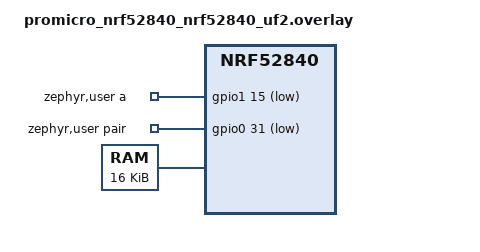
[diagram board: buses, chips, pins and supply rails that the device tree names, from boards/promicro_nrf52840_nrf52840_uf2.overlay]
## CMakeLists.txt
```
# Copyright (c) 2026 the OpenSC2-Controller authors
# SPDX-License-Identifier: MIT
cmake_minimum_required(VERSION 3.20.0)

# The OpenSC2 library is a Zephyr module: the OpenSC2-Controller repository. Inside the repository
# it is found here. In a copy of this folder elsewhere, set ZEPHYR_EXTRA_MODULES to your
# OpenSC2-Controller folder (environment variable, or -DZEPHYR_EXTRA_MODULES=<folder>), or list the
# repository in your west manifest (docs/integration.md).
if(EXISTS ${CMAKE_CURRENT_LIST_DIR}/../../zephyr/module.yml AND
   EXISTS ${CMAKE_CURRENT_LIST_DIR}/../../include/opensc2/opensc2.h)
  list(APPEND ZEPHYR_EXTRA_MODULES ${CMAKE_CURRENT_LIST_DIR}/../..)
endif()

find_package(Zephyr REQUIRED HINTS $ENV{ZEPHYR_BASE})
project(opensc2_minimal LANGUAGES C)

target_sources(app PRIVATE src/main.c)
```

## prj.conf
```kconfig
# Copyright (c) 2026 the OpenSC2-Controller authors
# SPDX-License-Identifier: MIT
#
# The smallest OpenSC2 application: one button and a pairing button, wired or wireless.
# The SuperMini's own lines (its clock) are in boards/promicro_nrf52840_nrf52840_uf2.conf.

# The library. The puck sends packets of up to 128 bytes; the real controller keeps two replies
# queued.
CONFIG_OPENSC2=y
CONFIG_ESB_MAX_PAYLOAD_LENGTH=128
CONFIG_ESB_TX_FIFO_SIZE=2
CONFIG_GPIO=y

# Wired mode (the overlay chooses the HID node). The library runs the USB device, so the board's
# own serial port does not start at boot; in wireless mode the library shows it as the console.
# Eight report buffers, and room on the stacks for the vendor commands that write flash.
CONFIG_CDC_ACM_SERIAL_INITIALIZE_AT_BOOT=n
CONFIG_USBD_HID_IN_BUF_COUNT=8
CONFIG_USBD_THREAD_STACK_SIZE=2048
CONFIG_SYSTEM_WORKQUEUE_STACK_SIZE=2048

# Bonds survive a reboot in Zephyr settings, on NVS in the board's storage partition. Steam's
# pairing over the cable stores the bond and then reboots the board: without these it is lost.
CONFIG_FLASH=y
CONFIG_FLASH_MAP=y
CONFIG_NVS=y
CONFIG_SETTINGS=y
CONFIG_SETTINGS_NVS=y

# Log and shell on the USB serial port in wireless mode ("opensc2 status", "opensc2 state"). The
# shell prints the log, so the plain UART log output is off (it would print every line twice).
# While wired the log goes into the USB session log, and the log thread needs a bigger stack.
CONFIG_LOG=y
CONFIG_LOG_PROCESS_THREAD_STACK_SIZE=1536
CONFIG_SHELL=y
CONFIG_LOG_BACKEND_UART=n
CONFIG_SHELL_PROMPT_UART="opensc2:~$ "
CONFIG_MAIN_STACK_SIZE=2048

# The button loop in main() runs below the radio thread (priority 5).
CONFIG_MAIN_THREAD_PRIORITY=7
```

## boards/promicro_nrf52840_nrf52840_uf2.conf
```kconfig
# Copyright (c) 2026 the OpenSC2-Controller authors
# SPDX-License-Identifier: MIT
#
# Kconfig for this one board target, promicro_nrf52840/nrf52840/uf2: Zephyr adds this file after
# prj.conf when it builds for that target. Another board gets a file of its own, named after its
# board target.

# SuperMini / Pro Micro nRF52840: no 32.768 kHz crystal, so the internal RC oscillator, calibrated.
CONFIG_CLOCK_CONTROL_NRF_K32SRC_RC=y
CONFIG_CLOCK_CONTROL_NRF_K32SRC_RC_CALIBRATION=y
```

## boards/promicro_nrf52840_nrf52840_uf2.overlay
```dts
/*
 * Copyright (c) 2026 the OpenSC2-Controller authors
 * SPDX-License-Identifier: MIT
 *
 * SuperMini / Pro Micro nRF52840: one button (A) and a pairing button, each between its pin and
 * GND. The internal pull-ups hold them released. Silkscreen labels: "111" is P1.11, and so on.
 *
 *   P1.15  A            P0.31  pairing button
 */
/ {
	zephyr,user {
		a-gpios = <&gpio1 15 (GPIO_PULL_UP | GPIO_ACTIVE_LOW)>;     /* A */
		pair-gpios = <&gpio0 31 (GPIO_PULL_UP | GPIO_ACTIVE_LOW)>;  /* pairing */
	};

	/* Wired mode: the USB HID function of the wired Steam Controller 2 (64-byte reports, 1 ms),
	 * and 16 KB of RAM that a soft reset keeps (the warm-restart mark, the USB session log), clear
	 * of the RAM the UF2 bootloader uses at every reset (docs/porting.md). */
	chosen {
		opensc2,usb-hid = &opensc2_hid;
		opensc2,retained-ram = &opensc2_retained;
	};

	opensc2_hid: opensc2_hid {
		compatible = "zephyr,hid-device";
		in-report-size = <64>;
		in-polling-period-us = <1000>;
		out-report-size = <64>;
		out-polling-period-us = <1000>;
	};

	opensc2_retained: memory@2002c000 {
		compatible = "zephyr,memory-region", "mmio-sram";
		reg = <0x2002c000 DT_SIZE_K(16)>;
		zephyr,memory-region = "OPENSC2_RETAINED";
	};
};

/* The application's RAM ends below the retained area (176 KB of the 256). */
&sram0 {
	reg = <0x20000000 DT_SIZE_K(176)>;
};
```

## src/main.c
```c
/*
 * Copyright (c) 2026 the OpenSC2-Controller authors
 * SPDX-License-Identifier: MIT
 *
 * The smallest OpenSC2 application: a Steam Controller 2 with one button (A) and a pairing button,
 * both read by one loop in main().
 *
 * Plugged into a PC it comes up wired, and Steam can add it over the cable: Steam pairs it with
 * its puck and reboots it into wireless mode, and it then connects through the puck. The pairing
 * button:
 *  - held while plugging in: this boot is wireless (that press is ignored until it is released);
 *  - pressed and released while wired: reboot into wireless mode (on the release, so that the
 *    button is up again at the next boot);
 *  - pressed while wireless: answer a puck whose pairing window is open over the air (untested
 *    with Steam, which pairs controllers over the cable).
 * There is no power_request callback: the library does the reboots Steam asks for itself, and it
 * ignores Steam's request to enter a bootloader for a firmware update.
 */
#include <zephyr/kernel.h>
#include <zephyr/drivers/gpio.h>
#include <zephyr/logging/log.h>
#include <opensc2/opensc2.h>

LOG_MODULE_REGISTER(minimal, LOG_LEVEL_INF);

#define USER DT_PATH(zephyr_user)

/* A button read every 5 ms by the loop below. Its state changes only when two reads in a row
 * agree: a contact bounces for a few milliseconds when it closes or opens. */
struct button {
	struct gpio_dt_spec pin;
	bool last_read;
	bool down;
};

static struct button button_a = { .pin = GPIO_DT_SPEC_GET(USER, a_gpios) };
static struct button button_pair = { .pin = GPIO_DT_SPEC_GET(USER, pair_gpios) };

static bool button_poll(struct button *b)
{
	bool now = gpio_pin_get_dt(&b->pin) == 1;

	if (now == b->last_read) {
		b->down = now;
	}
	b->last_read = now;
	return b->down;
}

int main(void)
{
	struct opensc2_config config = { .start = true };
	bool pair_held_at_boot;
	int err;

	gpio_pin_configure_dt(&button_a.pin, GPIO_INPUT);
	gpio_pin_configure_dt(&button_pair.pin, GPIO_INPUT);
	k_msleep(1);   /* let the pull-ups settle */

	/* Held while plugging in, read twice 5 ms apart: wireless this boot. */
	button_poll(&button_pair);
	k_msleep(5);
	pair_held_at_boot = button_poll(&button_pair);
	if (pair_held_at_boot) {
		config.boot_mode = OPENSC2_BOOT_WIRELESS;
	}

	err = opensc2_init(&config);
	if (err) {
		/* The console still starts (in wireless mode), so this can be read there. */
		LOG_ERR("opensc2_init failed (%d)", err);
	}

	for (;;) {
		bool pair_was_down = button_pair.down;
		bool pair_down = button_poll(&button_pair);

		if (pair_held_at_boot) {
			pair_held_at_boot = pair_down;   /* released: a normal button from now on */
		} else if (opensc2_mode() == OPENSC2_MODE_WIRED) {
			if (pair_was_down && !pair_down) {
				opensc2_reboot_later(OPENSC2_REBOOT_WIRELESS, "pair button", 0);
			}
		} else if (pair_down && !pair_was_down) {
			opensc2_pair_start(0);   /* 0: the default window, 60 s */
		}

		opensc2_set_buttons(OPENSC2_BTN_A, button_poll(&button_a) ? OPENSC2_BTN_A : 0);
		k_msleep(5);
	}
	return 0;
}
```
